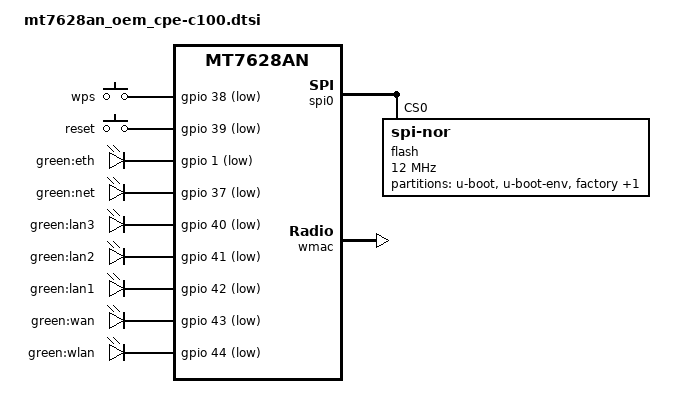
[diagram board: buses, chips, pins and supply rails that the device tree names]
#include <dt-bindings/input/input.h>
#include <dt-bindings/gpio/gpio.h>

#include "mt7628an.dtsi"

/ {
	compatible = "oem,cpe-c100", "mediatek,mt7628an-soc";

	aliases {
		led-boot = &led_net;
		led-failsafe = &led_net;
		led-running = &led_net;
		led-upgrade = &led_net;
	};

	chosen {
		bootargs = "console=ttyS0,57600";
	};


	keys {
		compatible = "gpio-keys-polled";
		poll-interval = <20>;
		
		wps {
			label = "wps";
			gpios = <&gpio 38 GPIO_ACTIVE_LOW>;
			linux,code = <KEY_WPS_BUTTON>;
		};

		reset {
			label = "reset";
			gpios = <&gpio 39 GPIO_ACTIVE_LOW>;
			linux,code = <KEY_RESTART>;
		};
	};

	leds {
		compatible = "gpio-leds";

		eth {
			label = "green:eth";
			gpios = <&gpio 1 GPIO_ACTIVE_LOW>;
		};

		led_net: net {
			label = "green:net";
			gpios = <&gpio 37 GPIO_ACTIVE_LOW>;
		};

		lan3 {
			label = "green:lan3";
			gpios = <&gpio 40 GPIO_ACTIVE_LOW>;
		};

		lan2 {
			label = "green:lan2";
			gpios = <&gpio 41 GPIO_ACTIVE_LOW>;
		};

		lan1 {
			label = "green:lan1";
			gpios = <&gpio 42 GPIO_ACTIVE_LOW>;
		};

		wan {
			label = "green:wan";
			gpios = <&gpio 43 GPIO_ACTIVE_LOW>;
		};

		wlan {
			label = "green:wlan";
			gpios = <&gpio 44 GPIO_ACTIVE_LOW>;
		};
	};
};


&spi0 {
	status = "okay";

	flash@0 {
		compatible = "jedec,spi-nor";
		reg = <0>;
		spi-max-frequency = <12000000>;

		partitions {
			compatible = "fixed-partitions";
			#address-cells = <1>;
			#size-cells = <1>;

			partition@0 {
				label = "u-boot";
				reg = <0x0 0x30000>;
				read-only;
			};

			partition@30000 {
				label = "u-boot-env";
				reg = <0x30000 0x10000>;
				read-only;
			};

			factory: partition@40000 {
				label = "factory";
				reg = <0x40000 0x10000>;
				read-only;
			};

			firmware: partition@50000 {
				compatible = "denx,uimage";
				label = "firmware";
			};
		};
	};
};

&pinctrl {
	state_default: pinctrl0 {
		gpio {
			groups = "gpio", "refclk", "i2s", "i2c", "uart1", "wled_an", "p0led_an", "p1led_an", "p2led_an", "p3led_an", "p4led_an", "wdt";
			function = "gpio";
		};
	};
};

&wmac {
	status = "okay";
	mtd-eeprom = <&factory 0x0>;
};

&ethernet {
	mtd-mac-address = <&factory 0x28>;
};

